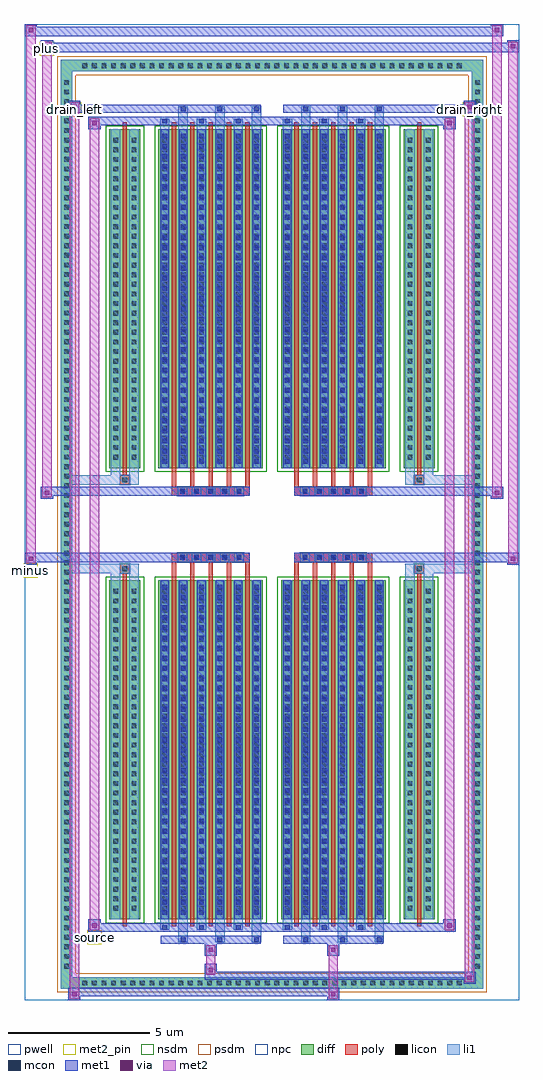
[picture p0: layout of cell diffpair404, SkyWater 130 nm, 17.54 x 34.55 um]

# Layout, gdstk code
import gdstk
lib = gdstk.Library(unit=1e-6, precision=5e-09)
def R(c, l, rs):  # rectangles x0, y0, x1, y1
    for r in rs: c.add(gdstk.rectangle(r[:2], r[2:], *l))
def A(c, l, x, y, w, h, nx, ny, dx, dy):  # array of equal rectangles
    R(c, l, [(x+i*dx, y+j*dy, x+i*dx+w, y+j*dy+h) for i in range(nx) for j in range(ny)])
def P(c, l, *ps):  # polygons
    for p in ps: c.add(gdstk.Polygon(p, *l))
pwell = (64, 44)
diff = (65, 20)
poly = (66, 20)
licon = (66, 44)
li1 = (67, 20)
mcon = (67, 44)
met1 = (68, 20)
via = (68, 44)
met2_pin = (69, 16)
met2 = (69, 20)
nsdm = (93, 44)
psdm = (94, 20)
npc = (95, 20)

diffpair404 = lib.new_cell('diffpair404')
R(diffpair404, pwell, [(-8.75,-16.84,8.75,17.71), (-6.07,-15.03,-0.01,-0.805), (0.01,-15.03,6.07,-0.805), (-6.07,0.805,-0.01,15.03), (0.01,0.805,6.07,15.03)])
A(diffpair404, diff, -6.835, -16.44, 0.41, 0.41, 40, 2, 0.34, 32.47)
A(diffpair404, diff, -7.48, -15.845, 0.41, 0.41, 1, 93, 0, 0.34)
A(diffpair404, diff, 7.07, -15.845, 0.41, 0.41, 1, 93, 0, 0.34)
R(diffpair404, diff, [(-6.835,-16.44,6.835,-16.03), (-7.48,-15.845,-7.07,15.845), (7.07,-15.845,7.48,15.845), (-5.76,-13.985,-4.66,-1.985), (-4.02,-13.985,-0.32,-1.985), (0.32,-13.985,4.02,-1.985), (4.66,-13.985,5.76,-1.985), (-5.76,1.985,-4.66,13.985), (-4.02,1.985,-0.32,13.985), (0.32,1.985,4.02,13.985), (4.66,1.985,5.76,13.985), (-6.835,16.03,6.835,16.44)])
P(diffpair404, diff, [(7.48,16.44),(-7.48,16.44),(-7.48,-16.03),(-7.07,-16.03),(-7.07,16.03),(7.07,16.03),(7.07,-16.03),(-7.07,-16.03),(-7.48,-16.03),(-7.48,-16.44),(7.48,-16.44)])
A(diffpair404, poly, -3.545, -14.235, 0.15, 12.5, 5, 2, 0.65, 15.97)
A(diffpair404, poly, 0.795, -14.235, 0.15, 12.5, 5, 2, 0.65, 15.97)
A(diffpair404, poly, -3.545, -1.735, 0.15, 0.4, 5, 2, 0.65, 3.07)
A(diffpair404, poly, 0.795, -1.735, 0.15, 0.4, 5, 2, 0.65, 3.07)
A(diffpair404, poly, -3.335, -1.335, 0.33, 0.33, 5, 2, 0.5, 2.34)
A(diffpair404, poly, 1.005, -1.335, 0.33, 0.33, 5, 2, 0.5, 2.34)
R(diffpair404, poly, [(-5.285,-14.235,-5.135,-1.735), (5.135,-14.235,5.285,-1.735), (-5.375,-1.735,-5.045,-1.405), (-5.375,-1.735,-5.045,-1.405), (5.045,-1.735,5.375,-1.405), (5.045,-1.735,5.375,-1.405), (-3.545,-1.335,-0.795,-1.005), (0.795,-1.335,3.545,-1.005), (-3.545,1.005,-0.795,1.335), (0.795,1.005,3.545,1.335), (-5.375,1.405,-5.045,1.735), (-5.375,1.405,-5.045,1.735), (5.045,1.405,5.375,1.735), (5.045,1.405,5.375,1.735), (-5.285,1.735,-5.135,14.235), (5.135,1.735,5.285,14.235)])
A(diffpair404, licon, -6.715, -16.32, 0.17, 0.17, 40, 2, 0.34, 32.47)
A(diffpair404, licon, -7.36, -15.725, 0.17, 0.17, 1, 93, 0, 0.34)
A(diffpair404, licon, 7.19, -15.725, 0.17, 0.17, 1, 93, 0, 0.34)
A(diffpair404, licon, -5.62, -13.68, 0.17, 0.17, 1, 34, 0, 0.34)
A(diffpair404, licon, -4.97, -13.68, 0.17, 0.17, 1, 34, 0, 0.34)
A(diffpair404, licon, -3.88, -13.68, 0.17, 0.17, 6, 34, 0.65, 0.34)
A(diffpair404, licon, 0.46, -13.68, 0.17, 0.17, 6, 34, 0.65, 0.34)
A(diffpair404, licon, 4.8, -13.68, 0.17, 0.17, 1, 34, 0, 0.34)
A(diffpair404, licon, 5.45, -13.68, 0.17, 0.17, 1, 34, 0, 0.34)
A(diffpair404, licon, -3.255, -1.255, 0.17, 0.17, 5, 2, 0.5, 2.34)
A(diffpair404, licon, 1.085, -1.255, 0.17, 0.17, 5, 2, 0.5, 2.34)
A(diffpair404, licon, -5.62, 2.29, 0.17, 0.17, 1, 34, 0, 0.34)
A(diffpair404, licon, -4.97, 2.29, 0.17, 0.17, 1, 34, 0, 0.34)
A(diffpair404, licon, -3.88, 2.29, 0.17, 0.17, 6, 34, 0.65, 0.34)
A(diffpair404, licon, 0.46, 2.29, 0.17, 0.17, 6, 34, 0.65, 0.34)
A(diffpair404, licon, 4.8, 2.29, 0.17, 0.17, 1, 34, 0, 0.34)
A(diffpair404, licon, 5.45, 2.29, 0.17, 0.17, 1, 34, 0, 0.34)
R(diffpair404, licon, [(-5.295,-1.655,-5.125,-1.485), (5.125,-1.655,5.295,-1.485), (-5.295,1.485,-5.125,1.655), (5.125,1.485,5.295,1.655)])
A(diffpair404, li1, -6.795, -16.4, 0.33, 0.33, 40, 2, 0.34, 32.47)
A(diffpair404, li1, -7.44, -15.805, 0.33, 0.33, 1, 93, 0, 0.34)
A(diffpair404, li1, 7.11, -15.805, 0.33, 0.33, 1, 93, 0, 0.34)
A(diffpair404, li1, -3.31, -14.79, 0.33, 0.805, 3, 2, 1.3, 28.775)
A(diffpair404, li1, -3.23, -14.79, 0.17, 0.17, 3, 2, 1.3, 29.41)
A(diffpair404, li1, 1.03, -14.79, 0.33, 0.805, 3, 2, 1.3, 28.775)
A(diffpair404, li1, 1.11, -14.79, 0.17, 0.17, 3, 2, 1.3, 29.41)
A(diffpair404, li1, -3.96, -14.36, 0.33, 0.375, 3, 2, 1.3, 28.345)
A(diffpair404, li1, -3.88, -14.36, 0.17, 0.17, 3, 2, 1.3, 28.55)
A(diffpair404, li1, 0.38, -14.36, 0.33, 0.375, 3, 2, 1.3, 28.345)
A(diffpair404, li1, 0.46, -14.36, 0.17, 0.17, 3, 2, 1.3, 28.55)
A(diffpair404, li1, -3.96, -13.985, 0.33, 12, 6, 2, 0.65, 15.97)
A(diffpair404, li1, 0.38, -13.985, 0.33, 12, 6, 2, 0.65, 15.97)
A(diffpair404, li1, -3.88, -13.83, 0.17, 0.17, 6, 33, 0.65, 0.36)
A(diffpair404, li1, -3.88, -13.83, 0.17, 11.69, 6, 2, 0.65, 15.97)
A(diffpair404, li1, 0.46, -13.83, 0.17, 0.17, 6, 33, 0.65, 0.36)
A(diffpair404, li1, 0.46, -13.83, 0.17, 11.69, 6, 2, 0.65, 15.97)
A(diffpair404, li1, -5.7, -13.76, 0.33, 0.33, 1, 34, 0, 0.34)
A(diffpair404, li1, -5.05, -13.76, 0.33, 0.33, 1, 34, 0, 0.34)
A(diffpair404, li1, -3.96, -13.76, 0.33, 0.33, 6, 34, 0.65, 0.34)
A(diffpair404, li1, 0.38, -13.76, 0.33, 0.33, 6, 34, 0.65, 0.34)
A(diffpair404, li1, 4.72, -13.76, 0.33, 0.33, 1, 34, 0, 0.34)
A(diffpair404, li1, 5.37, -13.76, 0.33, 0.33, 1, 34, 0, 0.34)
A(diffpair404, li1, -3.335, -1.335, 0.33, 0.33, 5, 2, 0.5, 2.34)
A(diffpair404, li1, 1.005, -1.335, 0.33, 0.33, 5, 2, 0.5, 2.34)
A(diffpair404, li1, -3.88, 2.14, 0.17, 0.17, 6, 33, 0.65, 0.36)
A(diffpair404, li1, 0.46, 2.14, 0.17, 0.17, 6, 33, 0.65, 0.36)
A(diffpair404, li1, -5.7, 2.21, 0.33, 0.33, 1, 34, 0, 0.34)
A(diffpair404, li1, -5.05, 2.21, 0.33, 0.33, 1, 34, 0, 0.34)
A(diffpair404, li1, -3.96, 2.21, 0.33, 0.33, 6, 34, 0.65, 0.34)
A(diffpair404, li1, 0.38, 2.21, 0.33, 0.33, 6, 34, 0.65, 0.34)
A(diffpair404, li1, 4.72, 2.21, 0.33, 0.33, 1, 34, 0, 0.34)
A(diffpair404, li1, 5.37, 2.21, 0.33, 0.33, 1, 34, 0, 0.34)
R(diffpair404, li1, [(-7.48,-16.44,-7.07,-16.03), (-7.48,-16.44,-7.07,-16.03), (-7.07,-16.44,7.07,-16.03), (7.07,-16.44,7.48,-16.03), (7.07,-16.44,7.48,-16.03), (-7.48,-16.03,-7.07,16.03), (7.07,-16.03,7.48,16.03), (-5.7,-13.985,-5.37,-1.985), (-5.05,-13.985,-4.72,-1.985), (4.72,-13.985,5.05,-1.985), (5.37,-13.985,5.7,-1.985), (-5.7,-1.985,-5.37,-1.405), (-5.05,-1.985,-4.72,-1.405), (4.72,-1.985,5.05,-1.405), (5.37,-1.985,5.7,-1.405), (-7.48,-1.735,-5.375,-1.405), (-5.7,-1.735,-5.375,-1.405), (-5.375,-1.735,-5.045,-1.405), (-5.045,-1.735,-4.72,-1.405), (4.72,-1.735,5.045,-1.405), (5.045,-1.735,5.375,-1.405), (5.045,-1.735,7.48,-1.405), (5.375,-1.735,5.7,-1.405), (-7.48,1.405,-5.375,1.735), (-5.7,1.405,-5.375,1.735), (-5.7,1.405,-5.37,1.985), (-5.375,1.405,-5.045,1.735), (-5.05,1.405,-4.72,1.985), (-5.045,1.405,-4.72,1.735), (4.72,1.405,5.045,1.735), (4.72,1.405,5.05,1.985), (5.045,1.405,5.375,1.735), (5.045,1.405,7.48,1.735), (5.37,1.405,5.7,1.985), (5.375,1.405,5.7,1.735), (-5.7,1.985,-5.37,13.985), (-5.05,1.985,-4.72,13.985), (4.72,1.985,5.05,13.985), (5.37,1.985,5.7,13.985), (-7.48,16.03,-7.07,16.44), (-7.48,16.03,-7.07,16.44), (-7.07,16.03,7.07,16.44), (7.07,16.03,7.48,16.44), (7.07,16.03,7.48,16.44)])
A(diffpair404, mcon, -3.23, -14.79, 0.17, 0.17, 3, 2, 1.3, 29.41)
A(diffpair404, mcon, 1.11, -14.79, 0.17, 0.17, 3, 2, 1.3, 29.41)
A(diffpair404, mcon, -3.88, -14.36, 0.17, 0.17, 3, 2, 1.3, 28.55)
A(diffpair404, mcon, 0.46, -14.36, 0.17, 0.17, 3, 2, 1.3, 28.55)
A(diffpair404, mcon, -3.88, -13.83, 0.17, 0.17, 6, 33, 0.65, 0.36)
A(diffpair404, mcon, 0.46, -13.83, 0.17, 0.17, 6, 33, 0.65, 0.36)
A(diffpair404, mcon, -3.255, -1.255, 0.17, 0.17, 5, 2, 0.5, 2.34)
A(diffpair404, mcon, 1.085, -1.255, 0.17, 0.17, 5, 2, 0.5, 2.34)
A(diffpair404, mcon, -3.88, 2.14, 0.17, 0.17, 6, 33, 0.65, 0.36)
A(diffpair404, mcon, 0.46, 2.14, 0.17, 0.17, 6, 33, 0.65, 0.36)
A(diffpair404, met1, -3.29, -14.85, 0.29, 0.29, 3, 2, 1.3, 29.41)
A(diffpair404, met1, 1.05, -14.85, 0.29, 0.29, 3, 2, 1.3, 29.41)
A(diffpair404, met1, -3.94, -14.42, 0.29, 0.29, 3, 2, 1.3, 28.55)
A(diffpair404, met1, 0.4, -14.42, 0.29, 0.29, 3, 2, 1.3, 28.55)
A(diffpair404, met1, -3.94, -13.985, 0.29, 12, 6, 2, 0.65, 15.97)
A(diffpair404, met1, 0.4, -13.985, 0.29, 12, 6, 2, 0.65, 15.97)
A(diffpair404, met1, -3.94, -13.89, 0.29, 0.29, 6, 33, 0.65, 0.36)
A(diffpair404, met1, 0.4, -13.89, 0.29, 0.29, 6, 33, 0.65, 0.36)
A(diffpair404, met1, -3.315, -1.315, 0.29, 0.29, 5, 2, 0.5, 2.34)
A(diffpair404, met1, 1.025, -1.315, 0.29, 0.29, 5, 2, 0.5, 2.34)
A(diffpair404, met1, -3.94, 2.08, 0.29, 0.29, 6, 33, 0.65, 0.36)
A(diffpair404, met1, 0.4, 2.08, 0.29, 0.29, 6, 33, 0.65, 0.36)
R(diffpair404, met1, [(-7.21,-16.84,-6.78,-16.41), (1.955,-16.84,2.385,-16.41), (-7.21,-16.7,2.385,-16.41), (6.78,-16.27,7.21,-15.84), (-2.385,-16.13,7.21,-15.84), (-2.385,-15.99,-1.955,-15.56), (-2.385,-15.28,-1.955,-14.85), (1.955,-15.28,2.385,-14.85), (-3.94,-14.85,-0.4,-14.56), (0.4,-14.85,3.94,-14.56), (-6.5,-14.42,-6.07,-13.99), (-6.5,-14.42,-3.94,-14.13), (-3.94,-14.42,-0.4,-14.13), (-0.4,-14.42,0.4,-14.13), (0.4,-14.42,3.94,-14.13), (3.94,-14.42,6.5,-14.13), (6.07,-14.42,6.5,-13.99), (-8.75,-1.435,-8.32,-1.005), (8.32,-1.435,8.75,-1.005), (-8.75,-1.335,-0.795,-1.005), (-3.545,-1.335,-0.795,-1.005), (0.795,-1.335,3.545,-1.005), (0.795,-1.335,8.75,-1.005), (-8.18,0.905,-7.75,1.335), (7.75,0.905,8.18,1.335), (-8.18,1.005,-3.545,1.335), (-3.545,1.005,-0.795,1.335), (0.795,1.005,3.545,1.335), (3.545,1.005,8.18,1.335), (-6.5,13.99,-6.07,14.42), (6.07,13.99,6.5,14.42), (-6.5,14.13,-3.94,14.42), (-3.94,14.13,-0.4,14.42), (-0.4,14.13,0.4,14.42), (0.4,14.13,3.94,14.42), (3.94,14.13,6.5,14.42), (-7.21,14.56,-6.78,14.99), (-7.21,14.56,-3.94,14.85), (-3.94,14.56,-0.4,14.85), (0.4,14.56,3.94,14.85), (3.94,14.56,7.21,14.85), (6.78,14.56,7.21,14.99), (-8.18,16.71,-7.75,17.14), (-8.18,16.71,-6.07,17.04), (-6.07,16.71,6.07,17.04), (6.07,16.71,8.75,17.04), (8.32,16.71,8.75,17.14), (-8.75,17.28,-8.32,17.71), (-8.75,17.28,-6.07,17.61), (-6.07,17.28,6.07,17.61), (6.07,17.28,8.18,17.61), (7.75,17.28,8.18,17.71)])
R(diffpair404, via, [(-7.07,-16.7,-6.92,-16.55), (2.095,-16.7,2.245,-16.55), (6.92,-16.13,7.07,-15.98), (-2.245,-15.85,-2.095,-15.7), (-2.245,-15.14,-2.095,-14.99), (2.095,-15.14,2.245,-14.99), (-6.36,-14.28,-6.21,-14.13), (6.21,-14.28,6.36,-14.13), (-8.61,-1.295,-8.46,-1.145), (8.46,-1.295,8.61,-1.145), (-8.04,1.045,-7.89,1.195), (7.89,1.045,8.04,1.195), (-6.36,14.13,-6.21,14.28), (6.21,14.13,6.36,14.28), (-7.07,14.7,-6.92,14.85), (6.92,14.7,7.07,14.85), (-8.04,16.85,-7.89,17), (8.46,16.85,8.61,17), (-8.61,17.42,-8.46,17.57), (7.89,17.42,8.04,17.57)])
R(diffpair404, met2_pin, [(-6.535,-14.87,-6.035,-14.37), (-8.785,-1.885,-8.285,-1.385), (-7.245,14.44,-6.745,14.94), (6.745,14.44,7.245,14.94), (-8.215,16.59,-7.715,17.09)])
R(diffpair404, met2, [(-7.16,-16.79,-6.83,-16.46), (-7.16,-16.79,-6.83,14.94), (2.005,-16.79,2.335,-16.46), (2.005,-16.46,2.335,-15.23), (6.83,-16.22,7.16,-15.89), (6.83,-16.22,7.16,14.94), (-2.335,-15.94,-2.005,-15.61), (-2.335,-15.61,-2.005,-15.23), (-2.335,-15.23,-2.005,-14.9), (2.005,-15.23,2.335,-14.9), (-6.45,-14.37,-6.12,-14.04), (-6.45,-14.37,-6.12,14.37), (6.12,-14.37,6.45,-14.04), (6.12,-14.37,6.45,14.37), (-8.7,-1.385,-8.37,-1.055), (-8.7,-1.385,-8.37,17.66), (8.37,-1.385,8.7,-1.055), (8.37,-1.385,8.7,17.09), (-8.13,0.955,-7.8,1.285), (-8.13,0.955,-7.8,17.09), (7.8,0.955,8.13,1.285), (7.8,0.955,8.13,17.66), (-6.45,14.04,-6.12,14.37), (6.12,14.04,6.45,14.37), (-7.16,14.61,-6.83,14.94), (6.83,14.61,7.16,14.94), (-8.13,16.76,-7.8,17.09), (8.37,16.76,8.7,17.09), (-8.7,17.33,-8.37,17.66), (7.8,17.33,8.13,17.66)])
P(diffpair404, met2, [(8.7,-1.385),(8.7,-1.385),(8.7,-1.055),(8.7,-1.055)],
  [(8.7,16.76),(8.7,16.76),(8.7,17.09),(8.7,17.09)],
  [(-8.37,-1.385),(-8.37,-1.385),(-8.37,-1.055),(-8.37,-1.055)],
  [(-8.37,17.33),(-8.37,17.33),(-8.37,17.66),(-8.37,17.66)],
  [(8.13,0.955),(8.13,0.955),(8.13,1.285),(8.13,1.285)],
  [(8.13,17.33),(8.13,17.33),(8.13,17.66),(8.13,17.66)],
  [(-7.8,0.955),(-7.8,0.955),(-7.8,1.285),(-7.8,1.285)],
  [(-7.8,16.76),(-7.8,16.76),(-7.8,17.09),(-7.8,17.09)],
  [(-6.83,-16.79),(-6.83,-16.79),(-6.83,-16.46),(-6.83,-16.46)],
  [(-6.83,14.61),(-6.83,14.61),(-6.83,14.94),(-6.83,14.94)],
  [(7.16,-16.22),(7.16,-16.22),(7.16,-15.89),(7.16,-15.89)],
  [(7.16,14.61),(7.16,14.61),(7.16,14.94),(7.16,14.94)],
  [(-6.12,-14.37),(-6.12,-14.37),(-6.12,-14.04),(-6.12,-14.04)],
  [(-6.12,14.04),(-6.12,14.04),(-6.12,14.37),(-6.12,14.37)],
  [(6.45,-14.37),(6.45,-14.37),(6.45,-14.04),(6.45,-14.04)],
  [(6.45,14.04),(6.45,14.04),(6.45,14.37),(6.45,14.37)])
R(diffpair404, nsdm, [(-5.89,-14.115,-4.53,-1.855), (-4.15,-14.115,-0.19,-1.855), (0.19,-14.115,4.15,-1.855), (4.53,-14.115,5.89,-1.855), (-5.89,1.855,-4.53,14.115), (-4.15,1.855,-0.19,14.115), (0.19,1.855,4.15,14.115), (4.53,1.855,5.89,14.115)])
P(diffpair404, psdm, [(7.61,16.57),(-7.61,16.57),(-7.61,-15.9),(-6.94,-15.9),(-6.94,15.9),(6.94,15.9),(6.94,-15.9),(-6.94,-15.9),(-7.61,-15.9),(-7.61,-16.57),(7.61,-16.57)])
A(diffpair404, npc, -3.355, -1.355, 0.37, 0.37, 5, 2, 0.5, 2.34)
A(diffpair404, npc, 0.985, -1.355, 0.37, 0.37, 5, 2, 0.5, 2.34)
R(diffpair404, npc, [(-5.395,-1.755,-5.025,-1.385), (5.025,-1.755,5.395,-1.385), (-3.355,-1.355,-2.485,-0.985), (-3.355,-1.355,-2.485,-0.985), (-2.855,-1.355,-1.985,-0.985), (-2.855,-1.355,-1.985,-0.985), (-2.355,-1.355,-1.485,-0.985), (-2.355,-1.355,-1.485,-0.985), (-1.855,-1.355,-0.985,-0.985), (-1.855,-1.355,-0.985,-0.985), (0.985,-1.355,1.855,-0.985), (0.985,-1.355,1.855,-0.985), (1.485,-1.355,2.355,-0.985), (1.485,-1.355,2.355,-0.985), (1.985,-1.355,2.855,-0.985), (1.985,-1.355,2.855,-0.985), (2.485,-1.355,3.355,-0.985), (2.485,-1.355,3.355,-0.985), (-3.355,0.985,-2.485,1.355), (-3.355,0.985,-2.485,1.355), (-2.855,0.985,-1.985,1.355), (-2.855,0.985,-1.985,1.355), (-2.355,0.985,-1.485,1.355), (-2.355,0.985,-1.485,1.355), (-1.855,0.985,-0.985,1.355), (-1.855,0.985,-0.985,1.355), (0.985,0.985,1.855,1.355), (0.985,0.985,1.855,1.355), (1.485,0.985,2.355,1.355), (1.485,0.985,2.355,1.355), (1.985,0.985,2.855,1.355), (1.985,0.985,2.855,1.355), (2.485,0.985,3.355,1.355), (2.485,0.985,3.355,1.355), (-5.395,1.385,-5.025,1.755), (5.025,1.385,5.395,1.755)])
diffpair404.add(gdstk.Label('minus', (-8.535,-1.635), layer=69, texttype=5))
diffpair404.add(gdstk.Label('drain_right', (6.995,14.69), layer=69, texttype=5))
diffpair404.add(gdstk.Label('drain_left', (-6.995,14.69), layer=69, texttype=5))
diffpair404.add(gdstk.Label('source', (-6.285,-14.62), layer=69, texttype=5))
diffpair404.add(gdstk.Label('plus', (-7.965,16.84), layer=69, texttype=5))

lib.write_gds('diffpair404.gds')
